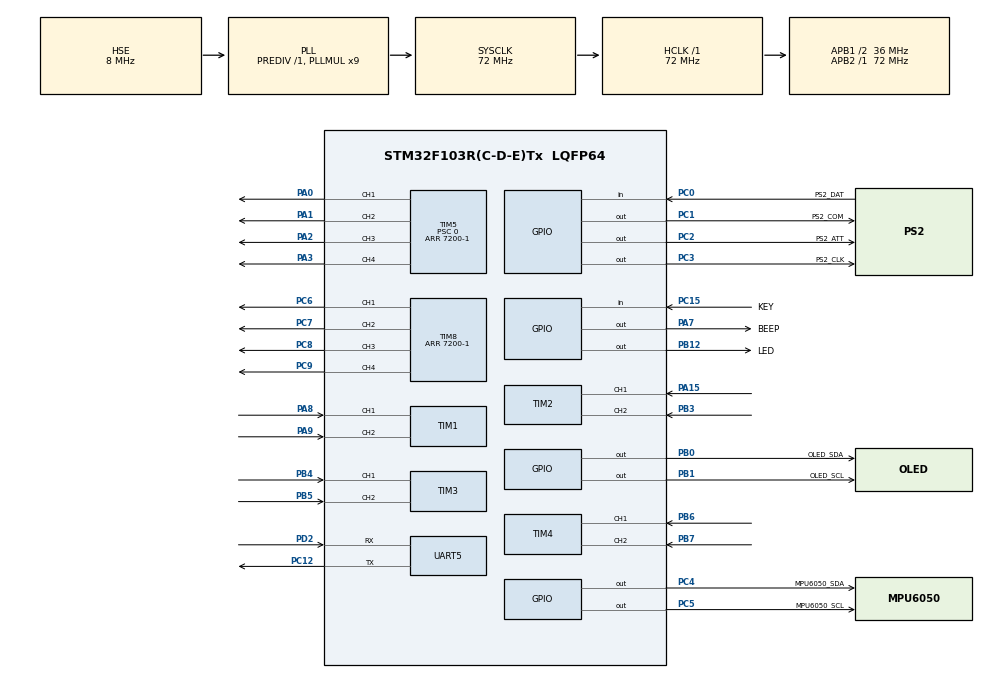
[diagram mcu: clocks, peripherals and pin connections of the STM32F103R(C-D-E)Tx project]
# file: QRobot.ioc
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FREERTOS.INCLUDE_vTaskDelayUntil=1
FREERTOS.Tasks01=control_Task,0,128,StartControlTask,Default,NULL,Static,control_TaskBuffer,control_TaskControlBlock;PS2_Task,0,128,StartPS2Task,Default,NULL,Static,PS2_TaskBuffer,PS2_TaskControlBlock;Data_Task,0,128,StartDataTask,Default,NULL,Static,Data_TaskBuffer,Data_TaskControlBlock;MPU6050_Task,-1,128,StartMPU6050Task,Default,NULL,Static,MPU6050_TaskBuffer,MPU6050_TaskControlBlock;Show_Task,-1,128,ShowTask,Default,NULL,Static,Show_TaskBuffer,Show_TaskControlBlock
Mcu.Family=STM32F1
Mcu.Name=STM32F103R(C-D-E)Tx
Mcu.Package=LQFP64
NVIC.PriorityGroup=NVIC_PRIORITYGROUP_4
NVIC.TIM6_IRQn=true\:15\:0\:false\:false\:true\:false\:false\:true\:true
NVIC.TimeBase=TIM6_IRQn
NVIC.TimeBaseIP=TIM6
NVIC.UART5_IRQn=true\:5\:0\:false\:false\:true\:true\:true\:true\:true
PA0-WKUP.Signal=S_TIM5_CH1
PA1.Signal=S_TIM5_CH2
PA13.Mode=Serial_Wire
PA13.Signal=SYS_JTMS-SWDIO
PA14.Mode=Serial_Wire
PA14.Signal=SYS_JTCK-SWCLK
PA15.Signal=S_TIM2_CH1_ETR
PA2.Signal=S_TIM5_CH3
PA3.Signal=S_TIM5_CH4
PA7.GPIO_Label=BEEP
PA7.GPIO_Speed=GPIO_SPEED_FREQ_HIGH
PA7.Signal=GPIO_Output
PA8.Signal=S_TIM1_CH1
PA9.Signal=S_TIM1_CH2
PB0.GPIO_Label=OLED_SDA
PB0.GPIO_PuPd=GPIO_PULLUP
PB0.GPIO_Speed=GPIO_SPEED_FREQ_HIGH
PB0.PinState=GPIO_PIN_SET
PB0.Signal=GPIO_Output
PB1.GPIO_Label=OLED_SCL
PB1.GPIO_PuPd=GPIO_PULLUP
PB1.GPIO_Speed=GPIO_SPEED_FREQ_HIGH
PB1.PinState=GPIO_PIN_SET
PB1.Signal=GPIO_Output
PB12.GPIO_Label=LED
PB12.GPIO_Speed=GPIO_SPEED_FREQ_HIGH
PB12.PinState=GPIO_PIN_SET
PB12.Signal=GPIO_Output
PB3.Signal=S_TIM2_CH2
PB4.Signal=S_TIM3_CH1
PB5.Signal=S_TIM3_CH2
PB6.Signal=S_TIM4_CH1
PB7.Signal=S_TIM4_CH2
PC0.GPIO_Label=PS2_DAT
PC0.GPIO_PuPd=GPIO_PULLUP
PC0.Signal=GPIO_Input
PC1.GPIO_Label=PS2_COM
PC1.GPIO_Speed=GPIO_SPEED_FREQ_HIGH
PC1.PinState=GPIO_PIN_SET
PC1.Signal=GPIO_Output
PC12.Mode=Asynchronous
PC12.Signal=UART5_TX
PC15-OSC32_OUT.GPIO_Label=KEY
PC15-OSC32_OUT.Signal=GPIO_Input
PC2.GPIO_Label=PS2_ATT
PC2.GPIO_Speed=GPIO_SPEED_FREQ_HIGH
PC2.PinState=GPIO_PIN_SET
PC2.Signal=GPIO_Output
PC3.GPIO_Label=PS2_CLK
PC3.GPIO_Speed=GPIO_SPEED_FREQ_HIGH
PC3.PinState=GPIO_PIN_SET
PC3.Signal=GPIO_Output
PC4.GPIO_Label=MPU6050_SDA
PC4.GPIO_Speed=GPIO_SPEED_FREQ_HIGH
PC4.PinState=GPIO_PIN_SET
PC4.Signal=GPIO_Output
PC5.GPIO_Label=MPU6050_SCL
PC5.GPIO_Speed=GPIO_SPEED_FREQ_HIGH
PC5.PinState=GPIO_PIN_SET
PC5.Signal=GPIO_Output
PC6.Signal=S_TIM8_CH1
PC7.Signal=S_TIM8_CH2
PC8.Signal=S_TIM8_CH3
PC9.Signal=S_TIM8_CH4
PD0-OSC_IN.Mode=HSE-External-Oscillator
PD0-OSC_IN.Signal=RCC_OSC_IN
PD1-OSC_OUT.Mode=HSE-External-Oscillator
PD1-OSC_OUT.Signal=RCC_OSC_OUT
PD2.Mode=Asynchronous
PD2.Signal=UART5_RX
ProjectManager.HeapSize=0x200
ProjectManager.StackSize=0x400
ProjectManager.TargetToolchain=MDK-ARM V5.32
RCC.AHBFreq_Value=72000000
RCC.APB1CLKDivider=RCC_HCLK_DIV2
RCC.APB1Freq_Value=36000000
RCC.APB1TimFreq_Value=72000000
RCC.APB2Freq_Value=72000000
RCC.APB2TimFreq_Value=72000000
RCC.HCLKFreq_Value=72000000
RCC.PLLMUL=RCC_PLL_MUL9
RCC.PLLSourceVirtual=RCC_PLLSOURCE_HSE
RCC.SYSCLKFreq_VALUE=72000000
RCC.SYSCLKSource=RCC_SYSCLKSOURCE_PLLCLK
RCC.USBFreq_Value=72000000
SH.S_TIM1_CH1.0=TIM1_CH1,Encoder_Interface
SH.S_TIM1_CH2.0=TIM1_CH2,Encoder_Interface
SH.S_TIM2_CH1_ETR.0=TIM2_CH1,Encoder_Interface
SH.S_TIM2_CH2.0=TIM2_CH2,Encoder_Interface
SH.S_TIM3_CH1.0=TIM3_CH1,Encoder_Interface
SH.S_TIM3_CH2.0=TIM3_CH2,Encoder_Interface
SH.S_TIM4_CH1.0=TIM4_CH1,Encoder_Interface
SH.S_TIM4_CH2.0=TIM4_CH2,Encoder_Interface
SH.S_TIM5_CH1.0=TIM5_CH1,PWM Generation1 CH1
SH.S_TIM5_CH2.0=TIM5_CH2,PWM Generation2 CH2
SH.S_TIM5_CH3.0=TIM5_CH3,PWM Generation3 CH3
SH.S_TIM5_CH4.0=TIM5_CH4,PWM Generation4 CH4
SH.S_TIM8_CH1.0=TIM8_CH1,PWM Generation1 CH1
SH.S_TIM8_CH2.0=TIM8_CH2,PWM Generation2 CH2
SH.S_TIM8_CH3.0=TIM8_CH3,PWM Generation3 CH3
SH.S_TIM8_CH4.0=TIM8_CH4,PWM Generation4 CH4
TIM1.EncoderMode=TIM_ENCODERMODE_TI12
TIM1.IC1Filter=10
TIM1.IC2Filter=10
TIM2.EncoderMode=TIM_ENCODERMODE_TI12
TIM2.IC1Filter=10
TIM2.IC2Filter=10
TIM3.EncoderMode=TIM_ENCODERMODE_TI12
TIM3.IC1Filter=10
TIM3.IC2Filter=10
TIM4.EncoderMode=TIM_ENCODERMODE_TI12
TIM4.IC1Filter=10
TIM4.IC2Filter=10
TIM5.Channel-PWM\ Generation1\ CH1=TIM_CHANNEL_1
TIM5.Channel-PWM\ Generation2\ CH2=TIM_CHANNEL_2
TIM5.Channel-PWM\ Generation3\ CH3=TIM_CHANNEL_3
TIM5.Channel-PWM\ Generation4\ CH4=TIM_CHANNEL_4
TIM5.Period=7200-1
TIM5.Prescaler=0
TIM8.Channel-PWM\ Generation1\ CH1=TIM_CHANNEL_1
TIM8.Channel-PWM\ Generation2\ CH2=TIM_CHANNEL_2
TIM8.Channel-PWM\ Generation3\ CH3=TIM_CHANNEL_3
TIM8.Channel-PWM\ Generation4\ CH4=TIM_CHANNEL_4
TIM8.Period=7200-1
UART5.VirtualMode=Asynchronous
VP_FREERTOS_VS_CMSIS_V1.Mode=CMSIS_V1
VP_SYS_VS_tim6.Mode=TIM6
board=custom

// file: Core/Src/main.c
/* USER CODE BEGIN Header */
#include "motor.h"
#include "encoder.h"
#include "system.h"
#include "motion_model.h"
#include "pid.h"
#include "delay.h"
#include "ps2.h"
#include "serial.h"
#include "mpu6050.h"
#include "oled.h"

/**
  ******************************************************************************
  * @file           : main.c
  * @brief          : Main program body
  ******************************************************************************
  * @attention
  *
  * Copyright (c) 2023 STMicroelectronics.
  * All rights reserved.
  *
  * This software is licensed under terms that can be found in the LICENSE file
  * in the root directory of this software component.
  * If no LICENSE file comes with this software, it is provided AS-IS.
  *
  ******************************************************************************
  */
/* USER CODE END Header */
#include "main.h"
#include "cmsis_os.h"
#include "tim.h"
#include "usart.h"
#include "gpio.h"

void SystemClock_Config(void);
void MX_FREERTOS_Init(void);

int main(void)
{

  /* MCU Configuration--------------------------------------------------------*/

  /* Reset of all peripherals, Initializes the Flash interface and the Systick. */
  HAL_Init();

  /* Configure the system clock */
  SystemClock_Config();

  /* Initialize all configured peripherals */
  MX_GPIO_Init();
  MX_TIM5_Init();
  MX_TIM8_Init();
  MX_TIM1_Init();
  MX_TIM2_Init();
  MX_TIM3_Init();
  MX_TIM4_Init();
  MX_UART5_Init();
  /* USER CODE BEGIN 2 */

	OLED_Init();//OLED初始化

//	OLED_Refresh();

	PS2_Init(); //PS2手柄初始化
	MPU6050_Init(); // MPU6050初始化
	// 电机PWM，满占空比是7199
	HAL_TIM_PWM_Start(&htim8, TIM_CHANNEL_1); // M1_PWMA_1
	HAL_TIM_PWM_Start(&htim8, TIM_CHANNEL_2); // M1_PWMA_2
	HAL_TIM_PWM_Start(&htim8, TIM_CHANNEL_3); // M3_PWMA_1
	HAL_TIM_PWM_Start(&htim8, TIM_CHANNEL_4); // M3_PWMA_2

	HAL_TIM_PWM_Start(&htim5, TIM_CHANNEL_1); // M4_PWMA_1
	HAL_TIM_PWM_Start(&htim5, TIM_CHANNEL_2); // M4_PWMA_2
	HAL_TIM_PWM_Start(&htim5, TIM_CHANNEL_3); // M2_PWMA_1
	HAL_TIM_PWM_Start(&htim5, TIM_CHANNEL_4); // M2_PWMA_2

	// 编码器
	HAL_TIM_Encoder_Start(&htim1,TIM_CHANNEL_ALL); // M1_ENC
	HAL_TIM_Encoder_Start(&htim2,TIM_CHANNEL_ALL); // M2_ENC
	HAL_TIM_Encoder_Start(&htim3,TIM_CHANNEL_ALL); // M3_ENC
	HAL_TIM_Encoder_Start(&htim4,TIM_CHANNEL_ALL); // M4_ENC

	// 串口
	HAL_UART_Receive_IT(&huart5,(void *)&uart5_rxbuff,1);
  /* USER CODE END 2 */

  /* Call init function for freertos objects (in freertos.c) */
  MX_FREERTOS_Init();

  /* Start scheduler */
  osKernelStart();

  /* We should never get here as control is now taken by the scheduler */
  /* Infinite loop */
  while (1)
  {

  }
}

void SystemClock_Config(void)
{
  RCC_OscInitTypeDef RCC_OscInitStruct = {0};
  RCC_ClkInitTypeDef RCC_ClkInitStruct = {0};

  /** Initializes the RCC Oscillators according to the specified parameters
  * in the RCC_OscInitTypeDef structure.
  */
  RCC_OscInitStruct.OscillatorType = RCC_OSCILLATORTYPE_HSE;
  RCC_OscInitStruct.HSEState = RCC_HSE_ON;
  RCC_OscInitStruct.HSEPredivValue = RCC_HSE_PREDIV_DIV1;
  RCC_OscInitStruct.HSIState = RCC_HSI_ON;
  RCC_OscInitStruct.PLL.PLLState = RCC_PLL_ON;
  RCC_OscInitStruct.PLL.PLLSource = RCC_PLLSOURCE_HSE;
  RCC_OscInitStruct.PLL.PLLMUL = RCC_PLL_MUL9;
  if (HAL_RCC_OscConfig(&RCC_OscInitStruct) != HAL_OK)
  {
    Error_Handler();
  }

  /** Initializes the CPU, AHB and APB buses clocks
  */
  RCC_ClkInitStruct.ClockType = RCC_CLOCKTYPE_HCLK|RCC_CLOCKTYPE_SYSCLK
                              |RCC_CLOCKTYPE_PCLK1|RCC_CLOCKTYPE_PCLK2;
  RCC_ClkInitStruct.SYSCLKSource = RCC_SYSCLKSOURCE_PLLCLK;
  RCC_ClkInitStruct.AHBCLKDivider = RCC_SYSCLK_DIV1;
  RCC_ClkInitStruct.APB1CLKDivider = RCC_HCLK_DIV2;
  RCC_ClkInitStruct.APB2CLKDivider = RCC_HCLK_DIV1;

  if (HAL_RCC_ClockConfig(&RCC_ClkInitStruct, FLASH_LATENCY_2) != HAL_OK)
  {
    Error_Handler();
  }
}

void HAL_TIM_PeriodElapsedCallback(TIM_HandleTypeDef *htim)
{
  if (htim->Instance == TIM6) {
    HAL_IncTick();
  }
}

void Error_Handler(void)
{
  __disable_irq();
  while (1)
  {
  }
}

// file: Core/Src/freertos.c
/* USER CODE BEGIN Header */
#include "motor.h"
#include "encoder.h"
#include "system.h"
#include "motion_model.h"
#include "pid.h"
#include "ps2.h"
#include "serial.h"
#include "mpu6050.h"
#include "oled.h"

// ---------------- 本文件为FreeRTOS的任务函数 -------------------------

/**
  ******************************************************************************
  * File Name          : freertos.c
  * Description        : Code for freertos applications
  ******************************************************************************
  * @attention
  *
  * Copyright (c) 2023 STMicroelectronics.
  * All rights reserved.
  *
  * This software is licensed under terms that can be found in the LICENSE file
  * in the root directory of this software component.
  * If no LICENSE file comes with this software, it is provided AS-IS.
  *
  ******************************************************************************
  */
/* USER CODE END Header */

#include "FreeRTOS.h"
#include "task.h"
#include "main.h"
#include "cmsis_os.h"

/* USER CODE BEGIN PD */
int PS2_key=0;
/* USER CODE END PD */

osThreadId control_TaskHandle;
uint32_t control_TaskBuffer[ 128 ];
osStaticThreadDef_t control_TaskControlBlock;
osThreadId PS2_TaskHandle;
uint32_t PS2_TaskBuffer[ 128 ];
osStaticThreadDef_t PS2_TaskControlBlock;
osThreadId Data_TaskHandle;
uint32_t Data_TaskBuffer[ 128 ];
osStaticThreadDef_t Data_TaskControlBlock;
osThreadId MPU6050_TaskHandle;
uint32_t MPU6050_TaskBuffer[ 128 ];
osStaticThreadDef_t MPU6050_TaskControlBlock;
osThreadId Show_TaskHandle;
uint32_t Show_TaskBuffer[ 128 ];
osStaticThreadDef_t Show_TaskControlBlock;

void StartControlTask(void const * argument);
void StartPS2Task(void const * argument);
void StartDataTask(void const * argument);
void StartMPU6050Task(void const * argument);
void ShowTask(void const * argument);

void MX_FREERTOS_Init(void); /* (MISRA C 2004 rule 8.1) */

/* GetIdleTaskMemory prototype (linked to static allocation support) */
void vApplicationGetIdleTaskMemory( StaticTask_t **ppxIdleTaskTCBBuffer, StackType_t **ppxIdleTaskStackBuffer, uint32_t *pulIdleTaskStackSize );

/* USER CODE BEGIN GET_IDLE_TASK_MEMORY */
static StaticTask_t xIdleTaskTCBBuffer;
static StackType_t xIdleStack[configMINIMAL_STACK_SIZE];

void vApplicationGetIdleTaskMemory( StaticTask_t **ppxIdleTaskTCBBuffer, StackType_t **ppxIdleTaskStackBuffer, uint32_t *pulIdleTaskStackSize )
{
  *ppxIdleTaskTCBBuffer = &xIdleTaskTCBBuffer;
  *ppxIdleTaskStackBuffer = &xIdleStack[0];
  *pulIdleTaskStackSize = configMINIMAL_STACK_SIZE;
  /* place for user code */
}
/* USER CODE END GET_IDLE_TASK_MEMORY */

void MX_FREERTOS_Init(void) {

  /* Create the thread(s) */
  /* definition and creation of control_Task */
  osThreadStaticDef(control_Task, StartControlTask, osPriorityNormal, 0, 128, control_TaskBuffer, &control_TaskControlBlock);
  control_TaskHandle = osThreadCreate(osThread(control_Task), NULL);

  /* definition and creation of PS2_Task */
  osThreadStaticDef(PS2_Task, StartPS2Task, osPriorityNormal, 0, 128, PS2_TaskBuffer, &PS2_TaskControlBlock);
  PS2_TaskHandle = osThreadCreate(osThread(PS2_Task), NULL);

  /* definition and creation of Data_Task */
  osThreadStaticDef(Data_Task, StartDataTask, osPriorityNormal, 0, 128, Data_TaskBuffer, &Data_TaskControlBlock);
  Data_TaskHandle = osThreadCreate(osThread(Data_Task), NULL);

  /* definition and creation of MPU6050_Task */
  osThreadStaticDef(MPU6050_Task, StartMPU6050Task, osPriorityBelowNormal, 0, 128, MPU6050_TaskBuffer, &MPU6050_TaskControlBlock);
  MPU6050_TaskHandle = osThreadCreate(osThread(MPU6050_Task), NULL);

  /* definition and creation of Show_Task */
  osThreadStaticDef(Show_Task, ShowTask, osPriorityBelowNormal, 0, 128, Show_TaskBuffer, &Show_TaskControlBlock);
  Show_TaskHandle = osThreadCreate(osThread(Show_Task), NULL);

}

void StartControlTask(void const * argument)
{
  /* USER CODE BEGIN StartControlTask */
  /* Infinite loop */

	// ControlTaskTASK：小车控制周期任务
	TickType_t lastWakeTime = xTaskGetTickCount();
	const TickType_t TimeIncrement = pdMS_TO_TICKS(10); // 10ms / 100Hz

  while(1)
  {
		osDelayUntil(&lastWakeTime,TimeIncrement);
		Get_Velocity(); // 获取小车当前速度
		FourWheel_car_Motion_Inverse(Recive_Data.Sensor_str.X_speed,Recive_Data.Sensor_str.Z_speed); // 获取树莓派下发的速度值
//		FourWheel_car_Motion_Inverse(ps2.X_speed,ps2.Z_speed);
		Motor_Control(PID_Incremental(&Moto1),PID_Incremental(&Moto2),PID_Incremental(&Moto3),PID_Incremental(&Moto4));

  }
  /* USER CODE END StartControlTask */
}

void StartPS2Task(void const * argument)
{
  /* USER CODE BEGIN StartPS2Task */
  /* Infinite loop */

	//PS2Task：PS2遥控器任务
	TickType_t lastWakeTime = xTaskGetTickCount();
	const TickType_t TimeIncrement = pdMS_TO_TICKS(10); // 10ms / 100Hz

  while(1)
  {
		osDelayUntil(&lastWakeTime,TimeIncrement);

		PS2_key = PS2_Receive();
		PS2_Pub_vel(PS2_key);
  }
  /* USER CODE END StartPS2Task */
}

void StartDataTask(void const * argument)
{
  /* USER CODE BEGIN StartDataTask */
  /* Infinite loop */

	// DataTask ：发送数据给ROS任务

	TickType_t lastWakeTime = xTaskGetTickCount();
	const TickType_t TimeIncrement = pdMS_TO_TICKS(50); // 50ms / 20HZ

  while(1)
  {
    osDelayUntil(&lastWakeTime,TimeIncrement);

		STM32_TO_ROS(); // 通过串口把数据发送给ROS

  }
  /* USER CODE END StartDataTask */
}

void StartMPU6050Task(void const * argument)
{
  /* USER CODE BEGIN StartMPU6050Task */
  /* Infinite loop */

	// MPU6050Task：采集MPU6050数据

	TickType_t lastWakeTime = xTaskGetTickCount();
	const TickType_t TimeIncrement = pdMS_TO_TICKS(10); // 10ms / 100HZ
  while(1)
  {
		osDelayUntil(&lastWakeTime,TimeIncrement);

    MPU_Get_Accelerometer(&acc); // 获取加速度值
		MPU_Get_Gyroscope(&gyro); // 获取角速度值
  }
  /* USER CODE END StartMPU6050Task */
}

void ShowTask(void const * argument)
{
  /* USER CODE BEGIN ShowTask */
  /* Infinite loop */
	TickType_t lastWakeTime = xTaskGetTickCount();
	const TickType_t TimeIncrement = pdMS_TO_TICKS(100); // 100ms / 10HZ
  while(1)
  {
    osDelayUntil(&lastWakeTime,TimeIncrement);

//		OLED_ShowString(8,0,"Q-Robot",16,1);
//		OLED_Refresh();
  }
  /* USER CODE END ShowTask */
}
